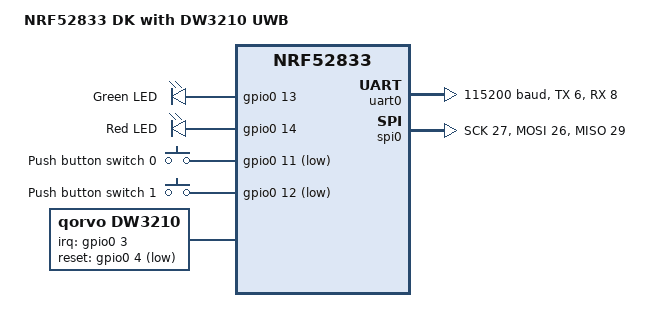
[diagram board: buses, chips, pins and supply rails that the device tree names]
/*
 * Copyright (c) 2024 UWB TAG FIRMWARE Project
 * Device Tree Source for NRF52833 DK with DW3210 UWB Transceiver
 */

/dts-v1/;
#include <nordic/nrf52833.dtsi>

/ {
	model = "NRF52833 DK with DW3210 UWB";
	compatible = "nordic,nrf52833-dk";

	chosen {
		zephyr,console = &uart0;
		zephyr,shell-uart = &uart0;
		zephyr,sram = &sram0;
		zephyr,flash = &flash0;
		zephyr,code-partition = &code_partition;
	};

	leds {
		compatible = "gpio-leds";
		led0: led_0 {
			gpios = <&gpio0 13 GPIO_ACTIVE_HIGH>;
			label = "Green LED";
		};
		led1: led_1 {
			gpios = <&gpio0 14 GPIO_ACTIVE_HIGH>;
			label = "Red LED";
		};
	};

	buttons {
		compatible = "gpio-keys";
		button0: button_0 {
			gpios = <&gpio0 11 (GPIO_PULL_UP | GPIO_ACTIVE_LOW)>;
			label = "Push button switch 0";
		};
		button1: button_1 {
			gpios = <&gpio0 12 (GPIO_PULL_UP | GPIO_ACTIVE_LOW)>;
			label = "Push button switch 1";
		};
	};

	/* DW3210 UWB Transceiver Configuration */
	dw3210 {
		compatible = "qorvo,dw3210";
		label = "dw3210";
		
		/* Pin Configuration */
		irq-gpios = <&gpio0 3 GPIO_ACTIVE_HIGH>;
		reset-gpios = <&gpio0 4 GPIO_ACTIVE_LOW>;
		cs-gpios = <&gpio0 31 GPIO_ACTIVE_LOW>;
		
		/* SPI Interface */
		spi-parent = &spi0;
		spi-frequency = <8000000>;
	};
};

&uart0 {
	compatible = "nordic,nrf-uart";
	current-speed = <115200>;
	status = "okay";
	tx-pin = <6>;
	rx-pin = <8>;
};

&spi0 {
	compatible = "nordic,nrf-spi";
	status = "okay";
	sck-pin = <27>;
	mosi-pin = <26>;
	miso-pin = <29>;
};

&gpio0 {
	status = "okay";
};

&flash0 {
	partitions {
		compatible = "fixed-partitions";
		#address-cells = <1>;
		#size-cells = <1>;

		boot_partition: partition@0 {
			label = "mcuboot";
			reg = <0x00000000 0x0000F000>;
		};

		code_partition: partition@f000 {
			label = "code";
			reg = <0x0000F000 0x000F1000>;
		};

		storage_partition: partition@100000 {
			label = "storage";
			reg = <0x00100000 0x00000000>;
		};
	};
};
